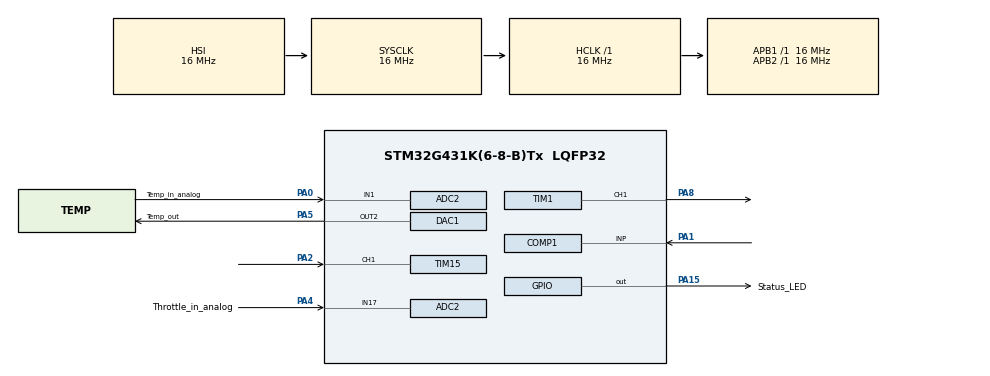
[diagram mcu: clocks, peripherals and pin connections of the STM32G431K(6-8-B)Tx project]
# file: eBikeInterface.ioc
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Mcu.Family=STM32G4
NVIC.ADC1_2_IRQn=true\:0\:0\:false\:false\:true\:true\:true
ADC2.ExternalTrigConv=ADC_EXTERNALTRIG_T4_TRGO
TIM15.Channel-Input_Capture1_from_TI1=TIM_CHANNEL_1
RCC.CortexFreq_Value=16000000
TIM1.OCIdleState_1=TIM_OCIDLESTATE_RESET
ADC2.Channel-0\#ChannelRegularConversion=ADC_CHANNEL_1
NVIC.TIM6_DAC_IRQn=true\:0\:0\:false\:false\:true\:true\:true
SH.COMP_DAC12_group.0=DAC1_OUT2,DAC_OUT2
PA0.GPIO_Label=Temp_in_analog
COMP1.Hysteresis=COMP_HYSTERESIS_50MV
TIM4.TIM_MasterOutputTrigger=TIM_TRGO_UPDATE
ProjectManager.StackSize=0x400
PA15.GPIO_Label=Status_LED
TIM1.Prescaler=15
PA4.Mode=IN17-Single-Ended
ADC2.DMAContinuousRequests=DISABLE
TIM15.Prescaler=159
RCC.HCLKFreq_Value=16000000
TIM2.TIM2_TI2_REMAP-Input_Capture2_from_TI2_Remap_TIM2=TIM_TIM2_TI2_COMP1
RCC.APB2TimFreq_Value=16000000
ADC2.EOCSelection=ADC_EOC_SINGLE_CONV
RCC.AHBFreq_Value=16000000
RCC.HSE_VALUE=8000000
VP_DAC3_VS_DACI1.Mode=DAC_OUT1_Int
TIM2.PeriodNoDither=32000000
TIM1.Channel-PWM\ Generation1\ CH1=TIM_CHANNEL_1
PA14.Mode=Serial_Wire
NVIC.TIM2_IRQn=true\:0\:0\:false\:false\:true\:true\:true
PA0.Mode=IN1-Single-Ended
VP_SYS_VS_DBSignals.Mode=DisableDeadBatterySignals
PA8.Signal=S_TIM1_CH1
VP_TIM1_VS_ClockSourceINT.Mode=Internal
PA0.Signal=ADC2_IN1
DAC1.DAC_Trigger2_OUT2-DAC_OUT2=DAC_TRIGGER_NONE
Mcu.Package=LQFP32
TIM2.Prescaler=15
TIM6.PeriodNoDither=1000
PA15.Signal=GPIO_Output
ADC2.SamplingTime-0\#ChannelRegularConversion=ADC_SAMPLETIME_12CYCLES_5
ADC2.NbrOfConversion=1
VP_TIM2_VS_NoInput2.Mode=Input_Capture2_from_TI2_Remap_TIM2
RCC.APB1TimFreq_Value=16000000
ADC2.Rank-0\#ChannelRegularConversion=1
ADC2.EnableAnalogWatchDog1=false
PA4.GPIO_Label=Throttle_in_analog
RCC.HSI48_VALUE=48000000
COMP1.TriggerMode=COMP_TRIGGERMODE_EVENT_RISING
TIM1.OCPolarity_1=TIM_OCPOLARITY_HIGH
DAC1.DAC_Trigger_OUT2-DAC_OUT2=DAC_TRIGGER_T4_TRGO
DAC1.DAC_Channel-DAC_OUT2=DAC_CHANNEL_2
TIM4.PeriodNoDither=1000
TIM6.Prescaler=159
VP_TIM6_VS_ClockSourceINT.Mode=Enable_Timer
RCC.EXTERNAL_CLOCK_VALUE=12288000
PA13.Signal=SYS_JTMS-SWDIO
VP_COMP1_VS_VREFINT14.Mode=VREFINT_14
SH.S_TIM1_CH1.0=TIM1_CH1,PWM Generation1 CH1
ADC2.ContinuousConvMode=DISABLE
ProjectManager.TargetToolchain=STM32CubeIDE
TIM2.ICFilter_CH2=4
RCC.USBFreq_Value=64000000
TIM4.Prescaler=15
RCC.LSE_VALUE=32768
PA1.Signal=COMP1_INP
TIM15.PeriodNoDither=41000
PA5.Signal=COMP_DAC12_group
ADC2.OffsetNumber-0\#ChannelRegularConversion=ADC_OFFSET_NONE
NVIC.TIM1_BRK_TIM15_IRQn=true\:0\:0\:false\:false\:true\:true\:true
board=custom
RCC.VCOOutputFreq_Value=128000000
SH.S_TIM15_CH1.0=TIM15_CH1,Input_Capture1_from_TI1
RCC.APB2Freq_Value=16000000
PA1.Mode=INP
VP_TIM2_VS_ClockSourceINT.Mode=Internal
TIM15.ICFilter_CH1=4
PA13.Mode=Serial_Wire
Mcu.Name=STM32G431K(6-8-B)Tx
PA2.Signal=S_TIM15_CH1
PA4.Signal=ADC2_IN17
RCC.SYSCLKFreq_VALUE=16000000
PA5.GPIO_Label=Temp_out
ADC2.NbrOfConversionFlag=1
PA14.Signal=SYS_JTCK-SWCLK
ProjectManager.HeapSize=0x200
RCC.HSI_VALUE=16000000
VP_TIM4_VS_ClockSourceINT.Mode=Internal
NVIC.PriorityGroup=NVIC_PRIORITYGROUP_4
TIM2.Channel-Input_Capture2_from_TI2_Remap_TIM2=TIM_CHANNEL_2
RCC.APB1Freq_Value=16000000
TIM1.PeriodNoDither=5000

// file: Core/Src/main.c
/* USER CODE BEGIN Header */
/**
  ******************************************************************************
  * @file           : main.c
  * @brief          : Main program body
  ******************************************************************************
  * @attention
  *
  * <h2><center>&copy; Copyright (c) 2021 STMicroelectronics.
  * All rights reserved.</center></h2>
  *
  * This software component is licensed by ST under BSD 3-Clause license,
  * the "License"; You may not use this file except in compliance with the
  * License. You may obtain a copy of the License at:
  *                        opensource.org/licenses/BSD-3-Clause
  *
  ******************************************************************************
  */
/* USER CODE END Header */
#include "main.h"

/* USER CODE BEGIN PD */
#define MIN_CHANNEL_VALUE 500
#define MAX_CHANNEL_VALUE 2500
#define MIN_TEMP_ANALOG_THERSHOLD 200
#define PAS_ACTIVE_THRESHOLD 20000
#define THROTTLE_THRESHOLD 100
#define TEMP_COUNTER_MAX 200	//Update TEMP out every 200*10ms
/* USER CODE END PD */

ADC_HandleTypeDef hadc2;

COMP_HandleTypeDef hcomp1;

DAC_HandleTypeDef hdac1;
DAC_HandleTypeDef hdac3;

TIM_HandleTypeDef htim1;
TIM_HandleTypeDef htim2;
TIM_HandleTypeDef htim4;
TIM_HandleTypeDef htim6;
TIM_HandleTypeDef htim15;

/* USER CODE BEGIN PV */
uint32_t ICSpeedVal1 = 0;
uint32_t ICSpeedVal2 = 0;
uint32_t ICSpeedDiff = 0;
uint8_t ICSpeedIsFirstCapt = 0;
uint16_t counter = 0;

uint8_t PAS_Detected = 0;
uint32_t PASSpeedVal1 = 0;
uint32_t PASSpeedVal2 = 0;
uint32_t PASSpeedDiff = 0;
uint8_t PASGotCapture = 1;

uint16_t TempCounter = 0;
uint32_t TempAccumulator = 0;

ADC_ChannelConfTypeDef ADC2ChannelConfig = {0};
uint16_t MinAnalogThrottleValue = 0;
uint16_t MaxAnalogThrottleValue = 4096;
uint8_t ThrottleStartup = 1;	//Used to check the first value for throttle
uint8_t OutputActive = 1;
uint16_t AnalogThrottleValue = 0;
uint8_t AssistLevel = 1;	//1 to 4 value
/* USER CODE END PV */

void SystemClock_Config(void);
static void MX_GPIO_Init(void);
static void MX_ADC2_Init(void);
static void MX_DAC1_Init(void);
static void MX_TIM2_Init(void);
static void MX_TIM1_Init(void);
static void MX_TIM4_Init(void);
static void MX_COMP1_Init(void);
static void MX_DAC3_Init(void);
static void MX_TIM6_Init(void);
static void MX_TIM15_Init(void);
/* USER CODE BEGIN PFP */
void toogle_ADC_Channel(ADC_ChannelConfTypeDef*);
int32_t NormalizeChannel(uint16_t ChannelValue, int32_t InMin, int32_t InMax, int32_t OutMin, int32_t OutMax);
void HAL_TIM_IC_CaptureCallback(TIM_HandleTypeDef *htim);
void HAL_ADC_ConvCpltCallback(ADC_HandleTypeDef *hadc);
void init_ADC_Channel(ADC_ChannelConfTypeDef* ADCChannel);
uint8_t refreshPPM(uint16_t value);

void HAL_TIM_PeriodElapsedCallback(TIM_HandleTypeDef *htim)
{
	if (htim == &htim6)
	{
		refreshPPM(AnalogThrottleValue);
	}
	else if (htim == &htim15)
	{
		if (PASGotCapture == 0)	//Check if capture has been detected. If not stop PAS, if detected then reset it until next timeout check.
		{
			PAS_Detected = 0;
		}
		else if (PASGotCapture!=2) PASGotCapture = 0;

	}
}
/* USER CODE END PFP */

int main(void)
{

  /* MCU Configuration--------------------------------------------------------*/

  /* Reset of all peripherals, Initializes the Flash interface and the Systick. */
  HAL_Init();

  /* Configure the system clock */
  SystemClock_Config();

  /* Initialize all configured peripherals */
  MX_GPIO_Init();
  MX_ADC2_Init();
  MX_DAC1_Init();
  MX_TIM2_Init();
  MX_TIM1_Init();
  MX_TIM4_Init();
  MX_COMP1_Init();
  MX_DAC3_Init();
  MX_TIM6_Init();
  MX_TIM15_Init();
  /* USER CODE BEGIN 2 */

  // Wheel speed detection
  HAL_COMP_Start(&hcomp1);
  HAL_TIM_Base_Start(&htim2);
  HAL_TIM_IC_Start_IT(&htim2, TIM_CHANNEL_2);

  //Pedal Sensing input capture and timeout start
  HAL_TIM_Base_Start_IT(&htim15);
  HAL_TIM_IC_Start_IT(&htim15, TIM_CHANNEL_1);

  //output PPM start. No valid signal until throttle detected.(PWM with 5ms period. Valid tHigh 500 / 2500µs)
  htim1.Instance->CCR1 = 0;
  HAL_TIM_Base_Start(&htim1);
  HAL_TIM_PWM_Start(&htim1, TIM_CHANNEL_1);

  // Throttle and Temperature measurement init (Select correct first channel)
  init_ADC_Channel(&ADC2ChannelConfig);
  HAL_ADC_Start_IT(&hadc2);
  HAL_DAC_Start(&hdac1, DAC_CHANNEL_2);
  HAL_TIM_Base_Start(&htim4);

  // Start task management timer (10ms period, to refresh output value)
  HAL_TIM_Base_Start_IT(&htim6);

  /* USER CODE END 2 */

  /* Infinite loop */
  while (1)
  {

  }
}

void SystemClock_Config(void)
{
  RCC_OscInitTypeDef RCC_OscInitStruct = {0};
  RCC_ClkInitTypeDef RCC_ClkInitStruct = {0};
  RCC_PeriphCLKInitTypeDef PeriphClkInit = {0};

  /** Configure the main internal regulator output voltage
  */
  HAL_PWREx_ControlVoltageScaling(PWR_REGULATOR_VOLTAGE_SCALE1);
  /** Initializes the RCC Oscillators according to the specified parameters
  * in the RCC_OscInitTypeDef structure.
  */
  RCC_OscInitStruct.OscillatorType = RCC_OSCILLATORTYPE_HSI;
  RCC_OscInitStruct.HSIState = RCC_HSI_ON;
  RCC_OscInitStruct.HSICalibrationValue = RCC_HSICALIBRATION_DEFAULT;
  RCC_OscInitStruct.PLL.PLLState = RCC_PLL_NONE;
  if (HAL_RCC_OscConfig(&RCC_OscInitStruct) != HAL_OK)
  {
    Error_Handler();
  }
  /** Initializes the CPU, AHB and APB buses clocks
  */
  RCC_ClkInitStruct.ClockType = RCC_CLOCKTYPE_HCLK|RCC_CLOCKTYPE_SYSCLK
                              |RCC_CLOCKTYPE_PCLK1|RCC_CLOCKTYPE_PCLK2;
  RCC_ClkInitStruct.SYSCLKSource = RCC_SYSCLKSOURCE_HSI;
  RCC_ClkInitStruct.AHBCLKDivider = RCC_SYSCLK_DIV1;
  RCC_ClkInitStruct.APB1CLKDivider = RCC_HCLK_DIV1;
  RCC_ClkInitStruct.APB2CLKDivider = RCC_HCLK_DIV1;

  if (HAL_RCC_ClockConfig(&RCC_ClkInitStruct, FLASH_LATENCY_0) != HAL_OK)
  {
    Error_Handler();
  }
  /** Initializes the peripherals clocks
  */
  PeriphClkInit.PeriphClockSelection = RCC_PERIPHCLK_ADC12;
  PeriphClkInit.Adc12ClockSelection = RCC_ADC12CLKSOURCE_SYSCLK;
  if (HAL_RCCEx_PeriphCLKConfig(&PeriphClkInit) != HAL_OK)
  {
    Error_Handler();
  }
}

static void MX_ADC2_Init(void)
{

  ADC_ChannelConfTypeDef sConfig = {0};

  /** Common config
  */
  hadc2.Instance = ADC2;
  hadc2.Init.ClockPrescaler = ADC_CLOCK_SYNC_PCLK_DIV2;
  hadc2.Init.Resolution = ADC_RESOLUTION_12B;
  hadc2.Init.DataAlign = ADC_DATAALIGN_RIGHT;
  hadc2.Init.GainCompensation = 0;
  hadc2.Init.ScanConvMode = ADC_SCAN_DISABLE;
  hadc2.Init.EOCSelection = ADC_EOC_SINGLE_CONV;
  hadc2.Init.LowPowerAutoWait = DISABLE;
  hadc2.Init.ContinuousConvMode = DISABLE;
  hadc2.Init.NbrOfConversion = 1;
  hadc2.Init.DiscontinuousConvMode = DISABLE;
  hadc2.Init.ExternalTrigConv = ADC_EXTERNALTRIG_T4_TRGO;
  hadc2.Init.ExternalTrigConvEdge = ADC_EXTERNALTRIGCONVEDGE_RISING;
  hadc2.Init.DMAContinuousRequests = DISABLE;
  hadc2.Init.Overrun = ADC_OVR_DATA_PRESERVED;
  hadc2.Init.OversamplingMode = DISABLE;
  if (HAL_ADC_Init(&hadc2) != HAL_OK)
  {
    Error_Handler();
  }
  /** Configure Regular Channel
  */
  sConfig.Channel = ADC_CHANNEL_1;
  sConfig.Rank = ADC_REGULAR_RANK_1;
  sConfig.SamplingTime = ADC_SAMPLETIME_12CYCLES_5;
  sConfig.SingleDiff = ADC_SINGLE_ENDED;
  sConfig.OffsetNumber = ADC_OFFSET_NONE;
  sConfig.Offset = 0;
  if (HAL_ADC_ConfigChannel(&hadc2, &sConfig) != HAL_OK)
  {
    Error_Handler();
  }

}

static void MX_COMP1_Init(void)
{

  hcomp1.Instance = COMP1;
  hcomp1.Init.InputPlus = COMP_INPUT_PLUS_IO1;
  hcomp1.Init.InputMinus = COMP_INPUT_MINUS_1_4VREFINT;
  hcomp1.Init.OutputPol = COMP_OUTPUTPOL_NONINVERTED;
  hcomp1.Init.Hysteresis = COMP_HYSTERESIS_50MV;
  hcomp1.Init.BlankingSrce = COMP_BLANKINGSRC_NONE;
  hcomp1.Init.TriggerMode = COMP_TRIGGERMODE_EVENT_RISING;
  if (HAL_COMP_Init(&hcomp1) != HAL_OK)
  {
    Error_Handler();
  }

}

static void MX_DAC1_Init(void)
{

  DAC_ChannelConfTypeDef sConfig = {0};

  /** DAC Initialization
  */
  hdac1.Instance = DAC1;
  if (HAL_DAC_Init(&hdac1) != HAL_OK)
  {
    Error_Handler();
  }
  /** DAC channel OUT2 config
  */
  sConfig.DAC_HighFrequency = DAC_HIGH_FREQUENCY_INTERFACE_MODE_AUTOMATIC;
  sConfig.DAC_DMADoubleDataMode = DISABLE;
  sConfig.DAC_SignedFormat = DISABLE;
  sConfig.DAC_SampleAndHold = DAC_SAMPLEANDHOLD_DISABLE;
  sConfig.DAC_Trigger = DAC_TRIGGER_T4_TRGO;
  sConfig.DAC_Trigger2 = DAC_TRIGGER_NONE;
  sConfig.DAC_OutputBuffer = DAC_OUTPUTBUFFER_ENABLE;
  sConfig.DAC_ConnectOnChipPeripheral = DAC_CHIPCONNECT_EXTERNAL;
  sConfig.DAC_UserTrimming = DAC_TRIMMING_FACTORY;
  if (HAL_DAC_ConfigChannel(&hdac1, &sConfig, DAC_CHANNEL_2) != HAL_OK)
  {
    Error_Handler();
  }

}

static void MX_DAC3_Init(void)
{

  DAC_ChannelConfTypeDef sConfig = {0};

  /** DAC Initialization
  */
  hdac3.Instance = DAC3;
  if (HAL_DAC_Init(&hdac3) != HAL_OK)
  {
    Error_Handler();
  }
  /** DAC channel OUT1 config
  */
  sConfig.DAC_HighFrequency = DAC_HIGH_FREQUENCY_INTERFACE_MODE_AUTOMATIC;
  sConfig.DAC_DMADoubleDataMode = DISABLE;
  sConfig.DAC_SignedFormat = DISABLE;
  sConfig.DAC_SampleAndHold = DAC_SAMPLEANDHOLD_DISABLE;
  sConfig.DAC_Trigger = DAC_TRIGGER_NONE;
  sConfig.DAC_Trigger2 = DAC_TRIGGER_NONE;
  sConfig.DAC_OutputBuffer = DAC_OUTPUTBUFFER_DISABLE;
  sConfig.DAC_ConnectOnChipPeripheral = DAC_CHIPCONNECT_INTERNAL;
  sConfig.DAC_UserTrimming = DAC_TRIMMING_FACTORY;
  if (HAL_DAC_ConfigChannel(&hdac3, &sConfig, DAC_CHANNEL_1) != HAL_OK)
  {
    Error_Handler();
  }

}

static void MX_TIM1_Init(void)
{

  TIM_ClockConfigTypeDef sClockSourceConfig = {0};
  TIM_MasterConfigTypeDef sMasterConfig = {0};
  TIM_OC_InitTypeDef sConfigOC = {0};
  TIM_BreakDeadTimeConfigTypeDef sBreakDeadTimeConfig = {0};

  htim1.Instance = TIM1;
  htim1.Init.Prescaler = 15;
  htim1.Init.CounterMode = TIM_COUNTERMODE_UP;
  htim1.Init.Period = 5000;
  htim1.Init.ClockDivision = TIM_CLOCKDIVISION_DIV1;
  htim1.Init.RepetitionCounter = 0;
  htim1.Init.AutoReloadPreload = TIM_AUTORELOAD_PRELOAD_DISABLE;
  if (HAL_TIM_Base_Init(&htim1) != HAL_OK)
  {
    Error_Handler();
  }
  sClockSourceConfig.ClockSource = TIM_CLOCKSOURCE_INTERNAL;
  if (HAL_TIM_ConfigClockSource(&htim1, &sClockSourceConfig) != HAL_OK)
  {
    Error_Handler();
  }
  if (HAL_TIM_PWM_Init(&htim1) != HAL_OK)
  {
    Error_Handler();
  }
  sMasterConfig.MasterOutputTrigger = TIM_TRGO_RESET;
  sMasterConfig.MasterOutputTrigger2 = TIM_TRGO2_RESET;
  sMasterConfig.MasterSlaveMode = TIM_MASTERSLAVEMODE_DISABLE;
  if (HAL_TIMEx_MasterConfigSynchronization(&htim1, &sMasterConfig) != HAL_OK)
  {
    Error_Handler();
  }
  sConfigOC.OCMode = TIM_OCMODE_PWM1;
  sConfigOC.Pulse = 0;
  sConfigOC.OCPolarity = TIM_OCPOLARITY_HIGH;
  sConfigOC.OCNPolarity = TIM_OCNPOLARITY_HIGH;
  sConfigOC.OCFastMode = TIM_OCFAST_DISABLE;
  sConfigOC.OCIdleState = TIM_OCIDLESTATE_RESET;
  sConfigOC.OCNIdleState = TIM_OCNIDLESTATE_RESET;
  if (HAL_TIM_PWM_ConfigChannel(&htim1, &sConfigOC, TIM_CHANNEL_1) != HAL_OK)
  {
    Error_Handler();
  }
  sBreakDeadTimeConfig.OffStateRunMode = TIM_OSSR_DISABLE;
  sBreakDeadTimeConfig.OffStateIDLEMode = TIM_OSSI_DISABLE;
  sBreakDeadTimeConfig.LockLevel = TIM_LOCKLEVEL_OFF;
  sBreakDeadTimeConfig.DeadTime = 0;
  sBreakDeadTimeConfig.BreakState = TIM_BREAK_DISABLE;
  sBreakDeadTimeConfig.BreakPolarity = TIM_BREAKPOLARITY_HIGH;
  sBreakDeadTimeConfig.BreakFilter = 0;
  sBreakDeadTimeConfig.BreakAFMode = TIM_BREAK_AFMODE_INPUT;
  sBreakDeadTimeConfig.Break2State = TIM_BREAK2_DISABLE;
  sBreakDeadTimeConfig.Break2Polarity = TIM_BREAK2POLARITY_HIGH;
  sBreakDeadTimeConfig.Break2Filter = 0;
  sBreakDeadTimeConfig.Break2AFMode = TIM_BREAK_AFMODE_INPUT;
  sBreakDeadTimeConfig.AutomaticOutput = TIM_AUTOMATICOUTPUT_DISABLE;
  if (HAL_TIMEx_ConfigBreakDeadTime(&htim1, &sBreakDeadTimeConfig) != HAL_OK)
  {
    Error_Handler();
  }
  HAL_TIM_MspPostInit(&htim1);

}

static void MX_TIM2_Init(void)
{

  TIM_ClockConfigTypeDef sClockSourceConfig = {0};
  TIM_MasterConfigTypeDef sMasterConfig = {0};
  TIM_IC_InitTypeDef sConfigIC = {0};

  htim2.Instance = TIM2;
  htim2.Init.Prescaler = 15;
  htim2.Init.CounterMode = TIM_COUNTERMODE_UP;
  htim2.Init.Period = 3.2E7;
  htim2.Init.ClockDivision = TIM_CLOCKDIVISION_DIV1;
  htim2.Init.AutoReloadPreload = TIM_AUTORELOAD_PRELOAD_DISABLE;
  if (HAL_TIM_Base_Init(&htim2) != HAL_OK)
  {
    Error_Handler();
  }
  sClockSourceConfig.ClockSource = TIM_CLOCKSOURCE_INTERNAL;
  if (HAL_TIM_ConfigClockSource(&htim2, &sClockSourceConfig) != HAL_OK)
  {
    Error_Handler();
  }
  if (HAL_TIM_IC_Init(&htim2) != HAL_OK)
  {
    Error_Handler();
  }
  sMasterConfig.MasterOutputTrigger = TIM_TRGO_RESET;
  sMasterConfig.MasterSlaveMode = TIM_MASTERSLAVEMODE_DISABLE;
  if (HAL_TIMEx_MasterConfigSynchronization(&htim2, &sMasterConfig) != HAL_OK)
  {
    Error_Handler();
  }
  sConfigIC.ICPolarity = TIM_INPUTCHANNELPOLARITY_RISING;
  sConfigIC.ICSelection = TIM_ICSELECTION_DIRECTTI;
  sConfigIC.ICPrescaler = TIM_ICPSC_DIV1;
  sConfigIC.ICFilter = 4;
  if (HAL_TIM_IC_ConfigChannel(&htim2, &sConfigIC, TIM_CHANNEL_2) != HAL_OK)
  {
    Error_Handler();
  }
  if (HAL_TIMEx_TISelection(&htim2, TIM_TIM2_TI2_COMP1, TIM_CHANNEL_2) != HAL_OK)
  {
    Error_Handler();
  }

}

static void MX_TIM4_Init(void)
{

  TIM_ClockConfigTypeDef sClockSourceConfig = {0};
  TIM_MasterConfigTypeDef sMasterConfig = {0};

  htim4.Instance = TIM4;
  htim4.Init.Prescaler = 15;
  htim4.Init.CounterMode = TIM_COUNTERMODE_UP;
  htim4.Init.Period = 1000;
  htim4.Init.ClockDivision = TIM_CLOCKDIVISION_DIV1;
  htim4.Init.AutoReloadPreload = TIM_AUTORELOAD_PRELOAD_DISABLE;
  if (HAL_TIM_Base_Init(&htim4) != HAL_OK)
  {
    Error_Handler();
  }
  sClockSourceConfig.ClockSource = TIM_CLOCKSOURCE_INTERNAL;
  if (HAL_TIM_ConfigClockSource(&htim4, &sClockSourceConfig) != HAL_OK)
  {
    Error_Handler();
  }
  sMasterConfig.MasterOutputTrigger = TIM_TRGO_UPDATE;
  sMasterConfig.MasterSlaveMode = TIM_MASTERSLAVEMODE_DISABLE;
  if (HAL_TIMEx_MasterConfigSynchronization(&htim4, &sMasterConfig) != HAL_OK)
  {
    Error_Handler();
  }

}

static void MX_TIM6_Init(void)
{

  TIM_MasterConfigTypeDef sMasterConfig = {0};

  htim6.Instance = TIM6;
  htim6.Init.Prescaler = 159;
  htim6.Init.CounterMode = TIM_COUNTERMODE_UP;
  htim6.Init.Period = 1000;
  htim6.Init.AutoReloadPreload = TIM_AUTORELOAD_PRELOAD_DISABLE;
  if (HAL_TIM_Base_Init(&htim6) != HAL_OK)
  {
    Error_Handler();
  }
  sMasterConfig.MasterOutputTrigger = TIM_TRGO_RESET;
  sMasterConfig.MasterSlaveMode = TIM_MASTERSLAVEMODE_DISABLE;
  if (HAL_TIMEx_MasterConfigSynchronization(&htim6, &sMasterConfig) != HAL_OK)
  {
    Error_Handler();
  }

}

static void MX_TIM15_Init(void)
{

  TIM_MasterConfigTypeDef sMasterConfig = {0};
  TIM_IC_InitTypeDef sConfigIC = {0};

  htim15.Instance = TIM15;
  htim15.Init.Prescaler = 159;
  htim15.Init.CounterMode = TIM_COUNTERMODE_UP;
  htim15.Init.Period = 41000;
  htim15.Init.ClockDivision = TIM_CLOCKDIVISION_DIV1;
  htim15.Init.RepetitionCounter = 0;
  htim15.Init.AutoReloadPreload = TIM_AUTORELOAD_PRELOAD_DISABLE;
  if (HAL_TIM_IC_Init(&htim15) != HAL_OK)
  {
    Error_Handler();
  }
  sMasterConfig.MasterOutputTrigger = TIM_TRGO_RESET;
  sMasterConfig.MasterSlaveMode = TIM_MASTERSLAVEMODE_DISABLE;
  if (HAL_TIMEx_MasterConfigSynchronization(&htim15, &sMasterConfig) != HAL_OK)
  {
    Error_Handler();
  }
  sConfigIC.ICPolarity = TIM_INPUTCHANNELPOLARITY_RISING;
  sConfigIC.ICSelection = TIM_ICSELECTION_DIRECTTI;
  sConfigIC.ICPrescaler = TIM_ICPSC_DIV1;
  sConfigIC.ICFilter = 4;
  if (HAL_TIM_IC_ConfigChannel(&htim15, &sConfigIC, TIM_CHANNEL_1) != HAL_OK)
  {
    Error_Handler();
  }

}

static void MX_GPIO_Init(void)
{
  GPIO_InitTypeDef GPIO_InitStruct = {0};

  /* GPIO Ports Clock Enable */
  __HAL_RCC_GPIOA_CLK_ENABLE();

  /*Configure GPIO pin Output Level */
  HAL_GPIO_WritePin(Status_LED_GPIO_Port, Status_LED_Pin, GPIO_PIN_RESET);

  /*Configure GPIO pin : Status_LED_Pin */
  GPIO_InitStruct.Pin = Status_LED_Pin;
  GPIO_InitStruct.Mode = GPIO_MODE_OUTPUT_PP;
  GPIO_InitStruct.Pull = GPIO_NOPULL;
  GPIO_InitStruct.Speed = GPIO_SPEED_FREQ_LOW;
  HAL_GPIO_Init(Status_LED_GPIO_Port, &GPIO_InitStruct);

}

/* USER CODE BEGIN 4 */

int32_t NormalizeChannel(uint16_t ChannelValue, int32_t InMin, int32_t InMax, int32_t OutMin, int32_t OutMax)
{
	if ( ChannelValue <= InMin) return OutMin;
	if ( ChannelValue >= InMax) return OutMax;

	float ScaleA = ((float)(OutMax - OutMin))/(float)(InMax - InMin);
	float ScaleB = (float)OutMin-((float)InMin * ScaleA);
	return (int32_t)(ChannelValue * ScaleA + ScaleB);
}

void HAL_TIM_IC_CaptureCallback(TIM_HandleTypeDef *htim)
  {
	if (htim == &htim2)
	{
		if (htim->Channel == HAL_TIM_ACTIVE_CHANNEL_2)	//Input capture source is from COMP1 with a 1/4*VREF threshold
		{
			if (!ICSpeedIsFirstCapt)
			{
				ICSpeedVal1 = HAL_TIM_ReadCapturedValue(htim, TIM_CHANNEL_2);
				ICSpeedIsFirstCapt = 1;
			}
			else
			{
				ICSpeedVal2 = HAL_TIM_ReadCapturedValue(htim, TIM_CHANNEL_2);
				if ( counter !=0)
				{
					if (ICSpeedVal1 < ICSpeedVal2) // Overflowed ?
					{
						ICSpeedDiff += ICSpeedVal2-ICSpeedVal1;
					}
					else
					{
						ICSpeedDiff += ((htim->Instance->ARR-ICSpeedVal1)+ICSpeedVal2)+1;
					}
				}
				ICSpeedVal1 = ICSpeedVal2;
				counter++;
				if (counter>=50)
				{
					ICSpeedDiff /= counter-1;
					counter = 0;
					ICSpeedDiff = 0;
				}
			}
		}
	}
	else if (htim == &htim15)
	{
		if (htim->Channel == HAL_TIM_ACTIVE_CHANNEL_1)	//Input capture from PAS on channel 1
		{
			__HAL_TIM_SET_COUNTER(&htim15, 0); //Reset timeout counter
			PASSpeedDiff = HAL_TIM_ReadCapturedValue(htim, TIM_CHANNEL_1);

			if (PASSpeedDiff < (PAS_ACTIVE_THRESHOLD + PAS_Detected * 100))
			{
				if (PASGotCapture == 1) PAS_Detected = 1;
			}
			else
			{
				PAS_Detected = 0;
			}
			PASGotCapture = 1;

		}
	}

  }

void HAL_ADC_ConvCpltCallback(ADC_HandleTypeDef *hadc)
{
	if (hadc == &hadc2)	//Do a lot of things inside the interruption because it's trigged by Timer 4 not so often (few ms)
	{
		uint16_t value = HAL_ADC_GetValue(hadc);
		switch(ADC2ChannelConfig.Channel)
		{
		case ADC_CHANNEL_1:;	//Channel 1 is mixed temperature/speed reading. Concentrate on the high level and ignore signal when it is low. We can concentrate on
			uint32_t reg = hcomp1.Instance->CSR;	//Does not work in one line....
			if (( reg & 0x40000000) != 0)
			{
				TempAccumulator += value;
				if (TempCounter >= TEMP_COUNTER_MAX)
				{
					TempAccumulator /= TempCounter;
					TempCounter = 0;
					HAL_DAC_SetValue(&hdac1, DAC_CHANNEL_2, DAC_ALIGN_12B_R, TempAccumulator);
					TempAccumulator = 0;
				}
				TempCounter++;
			}
			break;

		case ADC_CHANNEL_17:	//Channel 17 is throttle input. Just copy its value after PPM conversion
			if (ThrottleStartup!=0)
			{
				if (value > 2048 && ThrottleStartup == 1)	//Throttle is maintained high during startup ==> Start calibration sequence
				{
					ThrottleStartup = 2;
					MaxAnalogThrottleValue = value;
				}
				else if (value > 2048 && ThrottleStartup == 2 && value>MaxAnalogThrottleValue)	//Capture max value while throttle is higher than 2048
				{
					MaxAnalogThrottleValue = value;
				}
				else if (value <= 2048 && ThrottleStartup == 2)	//When throttle has gone below mid value launch min calibration step
				{
					ThrottleStartup = 3;
					MinAnalogThrottleValue = value;
				}
				else if (value <= 2048 && ThrottleStartup == 3 && value<MinAnalogThrottleValue)	//capture min value while throttle is kept below 2048
				{
					MinAnalogThrottleValue = value;
				}
				else if (value > 2048 && ThrottleStartup == 3) 	//Exit calibration procedure when throttle is back above mid value
				{
					ThrottleStartup = 0;
					//Add step to store new calibrated values to EEPROM
				}
				else ThrottleStartup = 0;
			}
			else
			{
				ThrottleStartup = 0;
				AnalogThrottleValue = value;
			}
			break;

		default:
			Error_Handler();
			break;
		}
		HAL_ADC_Stop_IT(&hadc2);	//Stop ADC Because we are going to change channel
		toogle_ADC_Channel(&ADC2ChannelConfig);	//Switch adc channel for next conversion
		HAL_ADC_Start_IT(&hadc2);	//Restart ADC Waiting for next conversion (after Timer 4 Trigger)
	}
}

void init_ADC_Channel(ADC_ChannelConfTypeDef* ADCChannel)
{
	ADCChannel->Channel = ADC_CHANNEL_1;
	ADCChannel->Rank = ADC_REGULAR_RANK_1;
	ADCChannel->SamplingTime = ADC_SAMPLETIME_12CYCLES_5;
	ADCChannel->SingleDiff = ADC_SINGLE_ENDED;
	ADCChannel->OffsetNumber = ADC_OFFSET_NONE;
	ADCChannel->Offset = 0;
	if (HAL_ADC_ConfigChannel(&hadc2, ADCChannel) != HAL_OK)
		{
			Error_Handler();
		}
}

void toogle_ADC_Channel(ADC_ChannelConfTypeDef* ADCChannel)
{
	if ( ADCChannel->Channel == ADC_CHANNEL_1) ADCChannel->Channel = ADC_CHANNEL_17;
	else ADCChannel->Channel = ADC_CHANNEL_1;
	if (HAL_ADC_ConfigChannel(&hadc2, ADCChannel) != HAL_OK)
	{
		Error_Handler();
	}
}

uint8_t refreshPPM(uint16_t ThrottleValue)
{
	if (OutputActive == 1 )
	{
		if (ThrottleValue < THROTTLE_THRESHOLD && PAS_Detected != 0 && AssistLevel<=4 && AssistLevel >0)
		{
			htim1.Instance->CCR1 = (uint16_t)NormalizeChannel(1000 * AssistLevel, 0, 4000, MIN_CHANNEL_VALUE, MAX_CHANNEL_VALUE);
			return 2;
		}

		htim1.Instance->CCR1 = (uint16_t)NormalizeChannel(ThrottleValue, MinAnalogThrottleValue, MaxAnalogThrottleValue, MIN_CHANNEL_VALUE, MAX_CHANNEL_VALUE);
		return 1;
	}
	else htim1.Instance->CCR1 = 500;
	return 0;
}
/* USER CODE END 4 */

void Error_Handler(void)
{
  __disable_irq();
  while (1)
  {
  }
}

/************************ (C) COPYRIGHT STMicroelectronics *****END OF FILE****/
